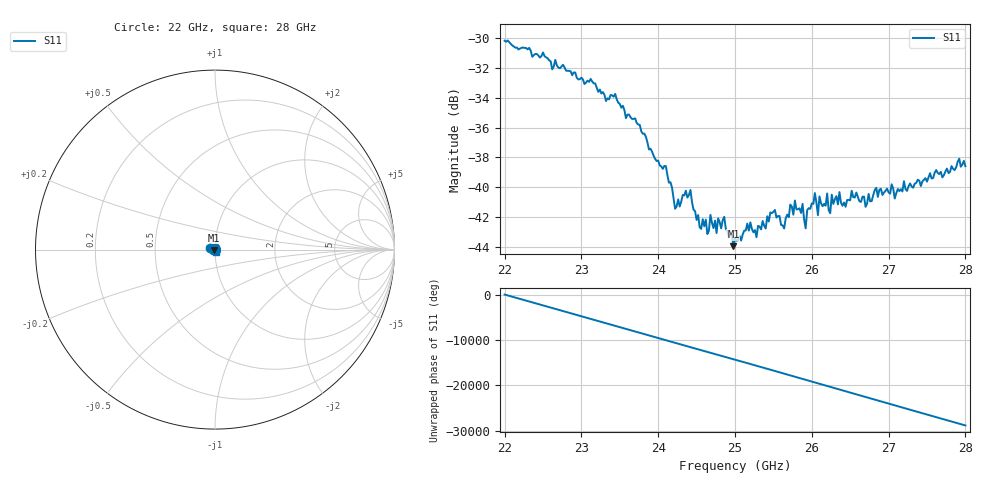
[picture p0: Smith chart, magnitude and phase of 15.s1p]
#  HZ  S  RI  R  50.00
! Rohde & Schwarz ZVA40 4Ports - Version 3.90 - 1145.1110k42 SN: 100403
! Date: 2023-10-04 08:34:14
! Measurement: S12
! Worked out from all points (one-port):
!   301 points, 22 GHz to 28 GHz, reference 50 ohm
!   lowest |S11| = -44.0 dB at 24.98 GHz (marker M1), VSWR 1.01, Z = 49.4 - j0.25 ohm
!   |S11| at or under -10 dB: start of sweep to end of sweep
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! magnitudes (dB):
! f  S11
! 22 GHz  -30.2
! 22.76 GHz  -31.8
! 23.5 GHz  -34.4
! 24.1 GHz  -38.6
! 24.22 GHz  -41.5
! 24.26 GHz  -40.8
! 24.42 GHz  -40.2
! 24.5 GHz  -42.2
! 24.64 GHz  -43.1
! 24.68 GHz  -41.9
! 24.76 GHz  -43.1
! 24.86 GHz  -42.0
! 24.98 GHz  -44.0
! 25 GHz  -43.4
! 25.76 GHz  -41.8
! 25.78 GHz  -40.9
! 25.88 GHz  -41.1
! 25.92 GHz  -42.8
! 25.94 GHz  -41.5
! 26.04 GHz  -40.4
! 26.08 GHz  -41.9
! 26.1 GHz  -40.6
! 26.2 GHz  -40.4
! 26.24 GHz  -41.7
! 26.26 GHz  -40.5
! 26.5 GHz  -40.9
! 27.26 GHz  -39.9
! 28 GHz  -38.6
